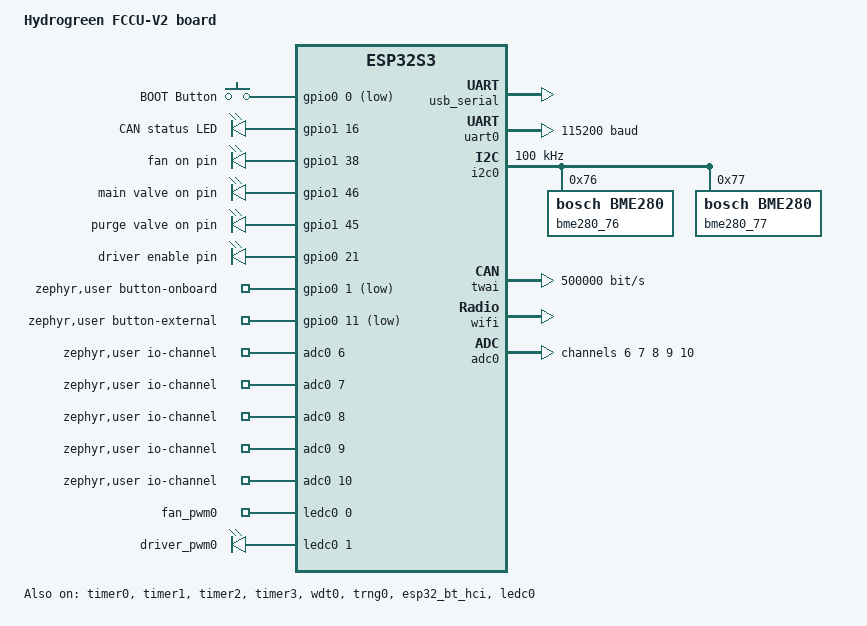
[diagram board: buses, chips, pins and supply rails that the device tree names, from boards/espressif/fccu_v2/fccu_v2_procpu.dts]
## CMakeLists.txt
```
cmake_minimum_required(VERSION 3.20.0)

list(APPEND BOARD_ROOT ${CMAKE_CURRENT_SOURCE_DIR})

find_package(Zephyr REQUIRED HINTS $ENV{ZEPHYR_BASE})

project(Inzynierka)

# Pliki źródłowe (.c), które będą kompilowane do pamięci procesora
target_sources(app PRIVATE
        src/main.c
        src/ui/system_status.c
        src/can/can_interface.c
)

# Foldery, w których kompilator ma szukać nagłówków (.h)
target_include_directories(app PRIVATE
        src
        src/ui
        src/can
)
```

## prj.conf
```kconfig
# --- MAGISTRALA CAN ---
CONFIG_CAN=y

# --- KONSOLA ---
CONFIG_SERIAL=y
CONFIG_CONSOLE=y
CONFIG_LOG=y
CONFIG_UART_CONSOLE=y

# --- OBSŁUGA UART/USB DLA ESP32 ---
#CONFIG_UART_ESP32=y
#CONFIG_UART_INTERRUPT_DRIVEN=y
```

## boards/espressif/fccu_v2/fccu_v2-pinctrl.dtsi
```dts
#include <zephyr/dt-bindings/pinctrl/esp-pinctrl-common.h>
#include <dt-bindings/pinctrl/esp32s3-pinctrl.h>
#include <zephyr/dt-bindings/pinctrl/esp32s3-gpio-sigmap.h>

&pinctrl {
	uart0_default: uart0_default {
		group1 {
			pinmux = <UART0_TX_GPIO43>;
			output-high;
		};
		group2 {
			pinmux = <UART0_RX_GPIO44>;
			bias-pull-up;
		};
	};

	uart1_default: uart1_default {
		group1 {
			pinmux = <UART1_TX_GPIO17>;
			output-high;
		};
		group2 {
			pinmux = <UART1_RX_GPIO18>;
			bias-pull-up;
		};
	};

	i2c0_default: i2c0_default {
		group1 {
			pinmux = <I2C0_SDA_GPIO35>,
					 <I2C0_SCL_GPIO34>;
			bias-pull-up;
			drive-open-drain;
			output-high;
		};
	};

	i2c1_default: i2c1_default {
		group1 {
			pinmux = <I2C1_SDA_GPIO4>,
					 <I2C1_SCL_GPIO5>;
			bias-pull-up;
			drive-open-drain;
			output-high;
		};
	};

	i2s0_default: i2s0_default {
		group1 {
			pinmux = <I2S0_MCLK_GPIO4>,
					 <I2S0_O_WS_GPIO5>,
					 <I2S0_O_BCK_GPIO6>,
					 <I2S0_O_SD_GPIO7>,
					 <I2S0_I_WS_GPIO15>,
					 <I2S0_I_BCK_GPIO16>;
			output-enable;
		};
		group2 {
			pinmux = <I2S0_I_SD_GPIO17>;
			input-enable;
		};
	};

	i2s1_default: i2s1_default {
		group1 {
			pinmux = <I2S1_MCLK_GPIO18>,
					 <I2S1_O_WS_GPIO8>,
					 <I2S1_O_BCK_GPIO3>,
					 <I2S1_O_SD_GPIO9>,
					 <I2S1_I_WS_GPIO10>,
					 <I2S1_I_BCK_GPIO11>;
			output-enable;
		};
		group2 {
			pinmux = <I2S1_I_SD_GPIO12>;
			input-enable;
		};
	};

	spim2_default: spim2_default {
		group1 {
			pinmux = <SPIM2_MISO_GPIO13>,
					 <SPIM2_SCLK_GPIO12>,
					 <SPIM2_CSEL_GPIO10>;
		};
		group2 {
			pinmux = <SPIM2_MOSI_GPIO11>;
			output-low;
		};
	};


	twai_default: twai_default {
		group1 {
			//Oryginalne fccu_v2
			//pinmux = <TWAI_TX_GPIO39>;

			//esp32s3 super mini
			pinmux = <TWAI_TX_GPIO4>;
			output-high; //Wymuszenie nadawania (wyjscie)
		};
		group2 {
			//Oryginalne fccu_v2
			//pinmux = <TWAI_RX_GPIO40>;

			//esp32s3 super mini
			pinmux = <TWAI_RX_GPIO5>;
			bias-pull-up; //Podciagniecie do wejscia
		};
	};

	//	mcpwm0_default: mcpwm0_default {
	//		group1 {
	//			pinmux = <MCPWM0_OUT0A_GPIO0>,
	//					 <MCPWM0_OUT0B_GPIO2>,
	//					 <MCPWM0_OUT1A_GPIO4>;
	//			output-enable;
	//		};
	//		group2 {
	//			pinmux = <MCPWM0_CAP0_GPIO5>;
	//		};
	//	};

	ledc0_default: ledc0_default {
		group1 {
			pinmux = <LEDC_CH0_GPIO37>,
					 <LEDC_CH1_GPIO17>,
					 <LEDC_CH2_GPIO4>;
			output-enable;
		};
	};
};
```

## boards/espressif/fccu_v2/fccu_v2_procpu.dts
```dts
/dts-v1/;

#include <espressif/esp32s3/esp32s3_wroom_n8.dtsi>
#include "fccu_v2-pinctrl.dtsi"
#include <espressif/partitions_0x0_amp.dtsi>


/ {
	model = "Hydrogreen FCCU-V2 board";
	compatible = "hydrogreen,fccu_v2";

	aliases {
		i2c-0 = &i2c0;
		watchdog0 = &wdt0;
	//	uart-0 = &uart0;
		can = &twai;
		fan-pin = &fan0;
		fan-pwm = &fan_pwm0;
		fan-tacho = &fan_tacho0;
		main-valve-pin = &main_valve0;
		purge-valve-pin = &purge_valve0;
		adc-1 = &adc0;
		can-status-led = &can_led0;
		counter0 = &counter0;
		counter1 = &counter1;
		counter2 = &counter2;
		counter3 = &counter3;
		driver-enable = &driver_enable0;
		driver-pwm = &driver_pwm0;
	};

	chosen {
		zephyr,sram = &sram1;
//		zephyr,console = &uart0;
//		zephyr,shell-uart = &uart0;
		zephyr,console = &usb_serial;
		zephyr,shell-uart = &usb_serial;
		zephyr,flash = &flash0;
		zephyr,code-partition = &slot0_partition;
		zephyr,bt-hci = &esp32_bt_hci;
		zephyr,canbus = &twai;
	};

	buttons {
		compatible = "gpio-keys";

		button0: button_0 {
			gpios = <&gpio0 0 (GPIO_PULL_UP | GPIO_ACTIVE_LOW)>;
			label = "BOOT Button";
		};
	};

	status_leds {
		compatible = "gpio-leds";

		can_led0: can_led_0 {
//			gpios = <&gpio0 12 GPIO_ACTIVE_HIGH>; //oryginalny z pliku
			gpios = <&gpio1 16 GPIO_ACTIVE_HIGH>; //esp32s3 super mini
			label = "CAN status LED";
		};
	};

	gpio_outputs {
		compatible = "gpio-leds";

		fan0: fan_0 {
			gpios = <&gpio1 38 GPIO_ACTIVE_HIGH>;
			label = "fan on pin";
		};
		main_valve0: main_valve_0 {
			gpios = <&gpio1 46 GPIO_ACTIVE_HIGH>;
			label = "main valve on pin";
		};
		purge_valve0: purge_valve_0 {
			gpios = <&gpio1 45 GPIO_ACTIVE_HIGH>;
			label = "purge valve on pin";
		};
		driver_enable0: driver_enable_0 {
			gpios = <&gpio0 21 GPIO_ACTIVE_HIGH>;
			label = "driver enable pin";
		};
	};

	gpio_inputs {
		fan_tacho0: fan_tacho_0 {
			gpios = <&gpio1 36 GPIO_ACTIVE_HIGH>;
			label = "fan tacho";
		};
	};

	zephyr,user {
		io-channels = <&adc0 6>, <&adc0 7>, <&adc0 8>, <&adc0 9>, <&adc0 10>;
		button-onboard-gpios  = <&gpio0 1  (GPIO_ACTIVE_LOW | GPIO_PULL_UP)>;
		button-external-gpios = <&gpio0 11 (GPIO_ACTIVE_LOW | GPIO_PULL_UP)>;
	};

	pwm_leds {
		compatible = "pwm-leds";

		fan_pwm0: fan_pwm_0 {
			pwms = <&ledc0 0 40000 0>;
		};
		driver_pwm0: driver_pwm_0 {
			pwms = <&ledc0 1 40000 0>;
		};
	};
};

&usb_serial {
	status = "okay";
};

&uart0 {
	status = "okay";
	current-speed = <115200>;
	pinctrl-0 = <&uart0_default>;
	pinctrl-names = "default";
};

&gpio0 {
	status = "okay";
};

&gpio1 {
	status = "okay";
};

&i2c0 {
	clock-frequency = <I2C_BITRATE_STANDARD>;
	pinctrl-0 = <&i2c0_default>;
	pinctrl-names = "default";
	status = "okay";

	bme280_76: bme280@76 {
		compatible = "bosch,bme280";
		reg = <0x76>;
		status = "okay";
	};

	bme280_77: bme280@77 {
		compatible = "bosch,bme280";
		reg = <0x77>;
		status = "okay";
	};

	ads1015_48: ads1015@48 {
		compatible = "ti,ads1015";
		reg = <0x48>;
		label = "ADS1015_48";
		#io-channel-cells = <1>;
		#address-cells = <1>;
		#size-cells = <0>;
		status = "disabled";
	};

	ads1015_49: ads1015@49 {
		compatible = "ti,ads1015";
		reg = <0x49>;
		label = "ADS1015_49";
		#io-channel-cells = <1>;
		#address-cells = <1>;
		#size-cells = <0>;
		status = "disabled";
	};
};

&i2c1 {
	clock-frequency = <I2C_BITRATE_STANDARD>;
	pinctrl-0 = <&i2c1_default>;
	pinctrl-names = "default";
	status = "disabled";
};

&i2s0 {
	pinctrl-0 = <&i2s0_default>;
	pinctrl-names = "default";
	status = "disabled";
};

&i2s1 {
	pinctrl-0 = <&i2s1_default>;
	pinctrl-names = "default";
	status = "disabled";
};

&spi2 {
	status = "disabled";
};

&twai {
	pinctrl-0 = <&twai_default>;
	pinctrl-names = "default";
	bitrate = <500000>;
	status = "okay";
};

&timer0 {
	status = "okay";
	counter0: counter {
		status = "okay";
	};
};

&timer1 {
	status = "okay";
	counter1: counter {
		status = "okay";
	};
};

&timer2 {
	status = "okay";
	counter2: counter {
		status = "okay";
	};
};

&timer3 {
	status = "okay";
	counter3: counter {
		status = "okay";
	};
};

&wdt0 {
	status = "okay";
};

&trng0 {
	status = "okay";
};

&esp32_bt_hci {
	status = "okay";
};

&wifi {
	status = "okay";
};

&adc0 {
	status = "okay";
	unit = <1>;
	#io-channel-cells = <1>;
	#address-cells = <1>;
	#size-cells = <0>;
	channel-count = <10>;

	channel@6 {
		reg = <6>;
		zephyr,gain = "ADC_GAIN_1_4";
		zephyr,reference = "ADC_REF_INTERNAL";
		zephyr,acquisition-time = <ADC_ACQ_TIME_DEFAULT>;
		zephyr,resolution = <12>;
	};
	channel@7 {
		reg = <7>;
		zephyr,gain = "ADC_GAIN_1_4";
		zephyr,reference = "ADC_REF_INTERNAL";
		zephyr,acquisition-time = <ADC_ACQ_TIME_DEFAULT>;
		zephyr,resolution = <12>;
	};
	channel@8 {
		reg = <8>;
		zephyr,gain = "ADC_GAIN_1_4";
		zephyr,reference = "ADC_REF_INTERNAL";
		zephyr,acquisition-time = <ADC_ACQ_TIME_DEFAULT>;
		zephyr,resolution = <12>;
	};
	channel@9 {
		reg = <9>;
		zephyr,gain = "ADC_GAIN_1_4";
		zephyr,reference = "ADC_REF_INTERNAL";
		zephyr,acquisition-time = <ADC_ACQ_TIME_DEFAULT>;
		zephyr,resolution = <12>;
	};
	channel@10 {
		reg = <10>;
		zephyr,gain = "ADC_GAIN_1_4";
		zephyr,reference = "ADC_REF_INTERNAL";
		zephyr,acquisition-time = <ADC_ACQ_TIME_DEFAULT>;
		zephyr,resolution = <12>;
	};
};

&ledc0 {
	status = "okay";
	pinctrl-0 = <&ledc0_default>;
	pinctrl-names = "default";
	#address-cells = <1>;
	#size-cells = <0>;

	channel@0 {
		reg = <0x0>;
		timer = <0>;
	};
	channel@1 {
		reg = <0x1>;
		timer = <1>;
	};
};
```

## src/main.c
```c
#include <zephyr/kernel.h>
#include <zephyr/device.h>
#include <zephyr/drivers/can.h>
#include "can_definitions.h"
#include "system_status.h"

#define CLAMP(value, min, max) (((value) > (max)) ? (max) : (((value) < (min)) ? (min) : (value)))

const struct device *can_dev = DEVICE_DT_GET(DT_CHOSEN(zephyr_canbus));

int main(void) {
    // 1. Inicjalizacja wątku LED (zacznie mrugać kodem błędu)
    init_system_status();

    if (!device_is_ready(can_dev)) {
        printk("Blad krytyczny: Urzadzenie CAN nie jest gotowe!\n");
        return 0;
    }

    can_set_mode(can_dev, CAN_MODE_NORMAL);
    can_start(can_dev);
    k_sleep(K_MSEC(1000));
    printk("FCCU CAN wystartowal poprawnie.\n");

    while (1) {
        float raw_voltage = 10.0f;
        float raw_current = -5.0f;

        float safe_voltage = CLAMP(raw_voltage, -50.0f, 50.0f);
        float safe_current = CLAMP(raw_current, -20.0f, 20.0f);

        struct hydrogreen_can_definitions_fccu_power_t power_data;
        power_data.fc_voltage = safe_voltage;
        power_data.fc_current = safe_current;
        power_data.dcdc_voltage = 0.0f;
        power_data.dcdc_current = 0.0f;
        power_data.load_current = 0.0f;

        uint8_t payload[8];
        hydrogreen_can_definitions_fccu_power_pack(payload, &power_data, 8);

        struct can_frame frame = {
                .id = 0x201, 
                .dlc = 8,
        };
        memcpy(frame.data, payload, 8);

        int ret = can_send(can_dev, &frame, K_MSEC(100), NULL, NULL);
        if (ret != 0) {
            printk("Blad wysylki: %d\n", ret);
            // 2. Jeśli CAN zgłasza problem (np. brak podłączenia, brak terminacji), wymuszamy podwójne mignięcia
            set_system_status(STATUS_CAN_ERROR);
        } else {
            printk("FCCU_POWER wyslane pomyslnie!\n");
            // 3. Wysłanie poprawne - wymuszamy pojedyncze, miarowe mignięcie
            set_system_status(STATUS_CAN_OK);
        }

        k_sleep(K_MSEC(100));
    }
    return 0;
}
```

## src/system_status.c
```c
#include <zephyr/kernel.h>
#include <zephyr/drivers/gpio.h>
#include "system_status.h"

// Pobranie pinu can_led0 z Devicetree
static const struct gpio_dt_spec led = GPIO_DT_SPEC_GET(DT_NODELABEL(can_led0), gpios);

// Wewnętrzna zmienna przechowująca stan - musi używać nowego typu
static volatile can_status current_status = STATUS_CAN_ERROR;

// DEDYKOWANY WĄTEK DIODY (Thread)
void led_thread_function(void) {
    while (1) {
        // Kopiujemy status, żeby nie zmienił się w ułamku sekundy podczas mrugania
        can_status active_status = current_status;
        switch (active_status) {
            case STATUS_CAN_OK:
                gpio_pin_set_dt(&led, 1);
                k_msleep(100);
                if (current_status != active_status) continue;

                gpio_pin_set_dt(&led, 0);
                k_msleep(900);
                break;

            case STATUS_CAN_ERROR:
                gpio_pin_set_dt(&led, 1);
                k_msleep(100);
                if (current_status != active_status) continue;

                gpio_pin_set_dt(&led, 0);
                k_msleep(100);
                if (current_status != active_status) continue;

                gpio_pin_set_dt(&led, 1);
                k_msleep(100);
                if (current_status != active_status) continue;

                gpio_pin_set_dt(&led, 0);
                k_msleep(700);
                break;

            case STATUS_TEST:
                gpio_pin_set_dt(&led, 1);
                // Czekamy w nieskończoność (K_FOREVER), aż ktoś nas wybudzi z zewnątrz
                k_sleep(K_FOREVER);
                break;
        }
    }
}

// Rejestracja wątku
K_THREAD_DEFINE(led_thread_id, 512, led_thread_function, NULL, NULL, NULL, 7, 0, 0);

// INICJALIZACJA I API
void init_system_status(void) {
    if (!device_is_ready(led.port)) {
        return;
    }

    gpio_pin_configure_dt(&led, GPIO_OUTPUT_ACTIVE);

    // Status ustawiamy na błąd, a wątek uruchomiony wyżej automatycznie zacznie mrugać!
    set_system_status(STATUS_CAN_ERROR);
}

void set_system_status(can_status new_status) {
    if (current_status == new_status) return;

    current_status = new_status;

    // MAGIA RTOS: Natychmiastowe przerwanie k_msleep() w wątku led_thread!
    k_wakeup(led_thread_id);
}

can_status get_system_status(void) {
    return current_status;
}
```
